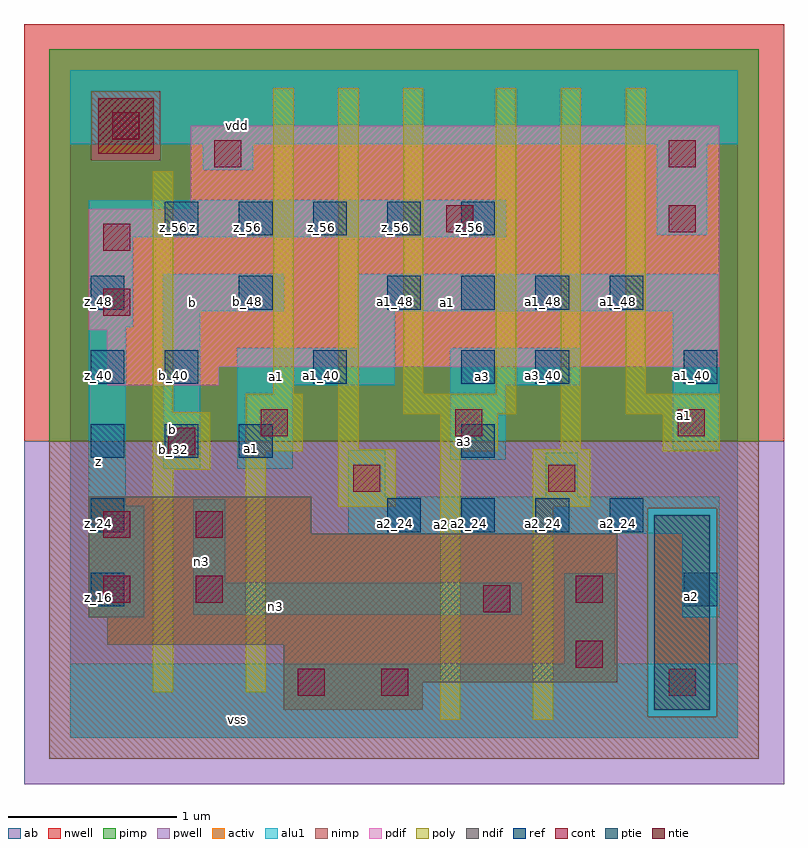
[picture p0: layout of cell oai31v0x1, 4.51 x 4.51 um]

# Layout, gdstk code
import gdstk
lib = gdstk.Library(unit=1e-6, precision=2.5e-09)
def R(c, l, rs):  # rectangles x0, y0, x1, y1
    for r in rs: c.add(gdstk.rectangle(r[:2], r[2:], *l))
def A(c, l, x, y, w, h, nx, ny, dx, dy):  # array of equal rectangles
    R(c, l, [(x+i*dx, y+j*dy, x+i*dx+w, y+j*dy+h) for i in range(nx) for j in range(ny)])
ndif = (3, 0)
pdif = (4, 0)
ntie = (5, 0)
ptie = (6, 0)
ref = (24, 0)
cont = (25, 0)
pwell = (41, 0)
nwell = (42, 0)
activ = (43, 0)
pimp = (44, 0)
nimp = (45, 0)
poly = (46, 0)
alu1 = (49, 0)
ab = (63, 0)

oai31v0x1 = lib.new_cell('oai31v0x1')
R(oai31v0x1, ndif, [(1.265,0.165,2.09,0.33), (1.265,0.33,3.245,0.55), (0.22,0.55,3.245,0.715), (0.11,0.715,3.245,1.21), (0.11,1.21,1.43,1.43)])
R(oai31v0x1, pdif, [(0.22,2.09,0.88,2.2), (0.22,2.2,3.85,2.42), (0.11,2.42,3.85,3.135), (0.715,3.135,3.85,3.63)])
R(oai31v0x1, ntie, [(0.165,3.465,0.495,3.795)])
R(oai31v0x1, ptie, [(3.465,0.165,3.795,1.32)])
A(oai31v0x1, ref, 1.88, 1.22, 0.2, 0.2, 4, 1, 0.44, 0)
A(oai31v0x1, ref, 0.12, 1.66, 0.2, 0.2, 3, 1, 0.44, 0)
A(oai31v0x1, ref, 0.56, 2.1, 0.2, 0.2, 3, 1, 0.88, 0)
A(oai31v0x1, ref, 0.12, 2.54, 0.2, 0.2, 3, 1, 0.88, 0)
A(oai31v0x1, ref, 2.32, 2.54, 0.2, 0.2, 3, 1, 0.44, 0)
A(oai31v0x1, ref, 0.56, 2.98, 0.2, 0.2, 5, 1, 0.44, 0)
R(oai31v0x1, ref, [(0.12,0.78,0.32,0.98), (3.64,0.78,3.84,0.98), (0.12,1.22,0.32,1.42), (2.32,1.66,2.52,1.86), (0.12,2.1,0.32,2.3), (2.76,2.1,2.96,2.3), (3.64,2.1,3.84,2.3)])
R(oai31v0x1, cont, [(1.35,0.25,1.51,0.41), (1.845,0.25,2.005,0.41), (3.55,0.25,3.71,0.41), (3,0.415,3.16,0.575), (2.45,0.745,2.61,0.905), (0.195,0.8,0.355,0.96), (0.745,0.8,0.905,0.96), (3,0.8,3.16,0.96), (0.195,1.185,0.355,1.345), (0.745,1.185,0.905,1.345), (1.68,1.46,1.84,1.62), (2.835,1.46,2.995,1.62), (0.58,1.68,0.74,1.84), (1.13,1.79,1.29,1.95), (2.285,1.79,2.445,1.95), (3.605,1.79,3.765,1.95), (0.195,2.505,0.355,2.665), (0.195,2.89,0.355,3.05), (2.23,3,2.39,3.16), (3.55,3,3.71,3.16), (0.855,3.385,1.015,3.545), (3.55,3.385,3.71,3.545), (0.25,3.55,0.41,3.71)])
R(oai31v0x1, pwell, [(-0.275,-0.275,4.235,1.76)])
R(oai31v0x1, nwell, [(-0.275,1.76,4.235,4.235)])
R(oai31v0x1, activ, [(1.265,0.165,2.09,0.33), (3.465,0.165,3.795,1.32), (1.265,0.33,3.245,0.55), (0.22,0.55,3.245,0.715), (0.11,0.715,3.245,1.21), (0.11,1.21,1.43,1.43), (0.22,2.09,0.88,2.2), (0.22,2.2,3.85,2.42), (0.11,2.42,3.85,3.135), (0.715,3.135,3.85,3.63), (0.165,3.465,0.495,3.795)])
R(oai31v0x1, pimp, [(3.425,0.125,3.835,1.36), (-0.125,1.76,4.085,3.425), (-0.125,3.425,0.125,3.835), (0.535,3.425,4.085,3.835), (-0.125,3.835,4.085,4.085)])
R(oai31v0x1, nimp, [(-0.125,-0.125,4.085,0.125), (-0.125,0.125,3.425,1.36), (3.835,0.125,4.085,1.36), (-0.125,1.36,4.085,1.76), (0.125,3.425,0.535,3.835)])
R(oai31v0x1, poly, [(2.195,0.105,2.315,1.7), (2.745,0.105,2.865,1.37), (0.49,0.27,0.61,1.59), (1.04,0.27,1.16,1.7), (1.59,1.37,1.93,1.71), (2.745,1.37,3.085,1.71), (0.49,1.59,0.83,1.93), (1.04,1.7,1.38,2.04), (2.195,1.7,2.535,1.92), (3.515,1.7,3.855,1.92), (1.59,1.71,1.71,3.855), (2.91,1.71,3.03,3.855), (1.975,1.92,2.645,2.04), (3.295,1.92,3.855,2.04), (0.49,1.93,0.61,3.36), (1.205,2.04,1.325,3.855), (1.975,2.04,2.095,3.855), (2.525,2.04,2.645,3.855), (3.295,2.04,3.415,3.855)])
R(oai31v0x1, alu1, [(0,0,3.96,0.44), (2.93,0.44,3.23,0.975), (0.11,0.715,0.44,1.375), (3.63,0.715,3.85,1.21), (0.73,0.73,2.68,0.92), (0.73,0.92,0.92,1.415), (1.65,1.21,3.85,1.43), (0.11,1.375,0.33,2.435), (1.65,1.43,1.87,1.705), (2.82,1.43,3.01,1.69), (0.55,1.595,0.77,2.53), (0.99,1.595,1.32,2.09), (2.255,1.65,2.585,2.09), (3.575,1.705,3.85,2.53), (0.99,2.09,1.925,2.31), (2.255,2.09,3.025,2.31), (1.705,2.31,1.925,2.53), (0.11,2.435,0.37,2.97), (0.55,2.53,1.265,2.75), (1.705,2.53,3.85,2.75), (0.11,2.97,2.585,3.19), (3.48,2.985,3.78,3.52), (0.785,3.37,1.085,3.52), (0,3.52,3.96,3.96)])
R(oai31v0x1, ab, [(0,0,3.96,3.96)])
oai31v0x1.add(gdstk.Label('vss', (0.99,0.11), layer=49, texttype=0))
oai31v0x1.add(gdstk.Label('a2', (3.685,0.8375), layer=49, texttype=0))
oai31v0x1.add(gdstk.Label('n3', (1.2175,0.7775), layer=49, texttype=0))
oai31v0x1.add(gdstk.Label('a2', (2.2,1.265), layer=49, texttype=0))
oai31v0x1.add(gdstk.Label('n3', (0.7775,1.0425), layer=49, texttype=0))
oai31v0x1.add(gdstk.Label('a1', (3.6425,1.91), layer=49, texttype=0))
oai31v0x1.add(gdstk.Label('a3', (2.3375,1.76), layer=49, texttype=0))
oai31v0x1.add(gdstk.Label('a1', (1.0725,1.7175), layer=49, texttype=0))
oai31v0x1.add(gdstk.Label('a3', (2.4475,2.145), layer=49, texttype=0))
oai31v0x1.add(gdstk.Label('a1', (1.2225,2.145), layer=49, texttype=0))
oai31v0x1.add(gdstk.Label('b', (0.605,1.8275), layer=49, texttype=0))
oai31v0x1.add(gdstk.Label('z', (0.165,1.64), layer=49, texttype=0))
oai31v0x1.add(gdstk.Label('a1', (2.24,2.585), layer=49, texttype=0))
oai31v0x1.add(gdstk.Label('b', (0.7275,2.585), layer=49, texttype=0))
oai31v0x1.add(gdstk.Label('z', (0.7275,3.025), layer=49, texttype=0))
oai31v0x1.add(gdstk.Label('vdd', (0.99,3.63), layer=49, texttype=0))
oai31v0x1.add(gdstk.Label('b_32', (0.61,1.71), layer=24, texttype=0))
oai31v0x1.add(gdstk.Label('b_40', (0.61,2.15), layer=24, texttype=0))
oai31v0x1.add(gdstk.Label('z_56', (0.61,3.03), layer=24, texttype=0))
oai31v0x1.add(gdstk.Label('a1_32', (1.05,1.71), layer=24, texttype=0))
oai31v0x1.add(gdstk.Label('b_48', (1.05,2.59), layer=24, texttype=0))
oai31v0x1.add(gdstk.Label('z_56', (1.05,3.03), layer=24, texttype=0))
oai31v0x1.add(gdstk.Label('a1_40', (1.49,2.15), layer=24, texttype=0))
oai31v0x1.add(gdstk.Label('z_56', (1.49,3.03), layer=24, texttype=0))
oai31v0x1.add(gdstk.Label('a2_24', (1.93,1.27), layer=24, texttype=0))
oai31v0x1.add(gdstk.Label('a1_48', (1.93,2.59), layer=24, texttype=0))
oai31v0x1.add(gdstk.Label('z_56', (1.93,3.03), layer=24, texttype=0))
oai31v0x1.add(gdstk.Label('z_16', (0.17,0.83), layer=24, texttype=0))
oai31v0x1.add(gdstk.Label('z_24', (0.17,1.27), layer=24, texttype=0))
oai31v0x1.add(gdstk.Label('z_32', (0.17,1.71), layer=24, texttype=0))
oai31v0x1.add(gdstk.Label('z_40', (0.17,2.15), layer=24, texttype=0))
oai31v0x1.add(gdstk.Label('z_48', (0.17,2.59), layer=24, texttype=0))
oai31v0x1.add(gdstk.Label('a2_24', (2.37,1.27), layer=24, texttype=0))
oai31v0x1.add(gdstk.Label('a3_32', (2.37,1.71), layer=24, texttype=0))
oai31v0x1.add(gdstk.Label('a3_40', (2.37,2.15), layer=24, texttype=0))
oai31v0x1.add(gdstk.Label('a1_48', (2.37,2.59), layer=24, texttype=0))
oai31v0x1.add(gdstk.Label('z_56', (2.37,3.03), layer=24, texttype=0))
oai31v0x1.add(gdstk.Label('a2_24', (2.81,1.27), layer=24, texttype=0))
oai31v0x1.add(gdstk.Label('a3_40', (2.81,2.15), layer=24, texttype=0))
oai31v0x1.add(gdstk.Label('a1_48', (2.81,2.59), layer=24, texttype=0))
oai31v0x1.add(gdstk.Label('a2_24', (3.25,1.27), layer=24, texttype=0))
oai31v0x1.add(gdstk.Label('a1_48', (3.25,2.59), layer=24, texttype=0))
oai31v0x1.add(gdstk.Label('a2_16', (3.69,0.83), layer=24, texttype=0))
oai31v0x1.add(gdstk.Label('a1_40', (3.69,2.15), layer=24, texttype=0))

lib.write_gds('oai31v0x1.gds')
